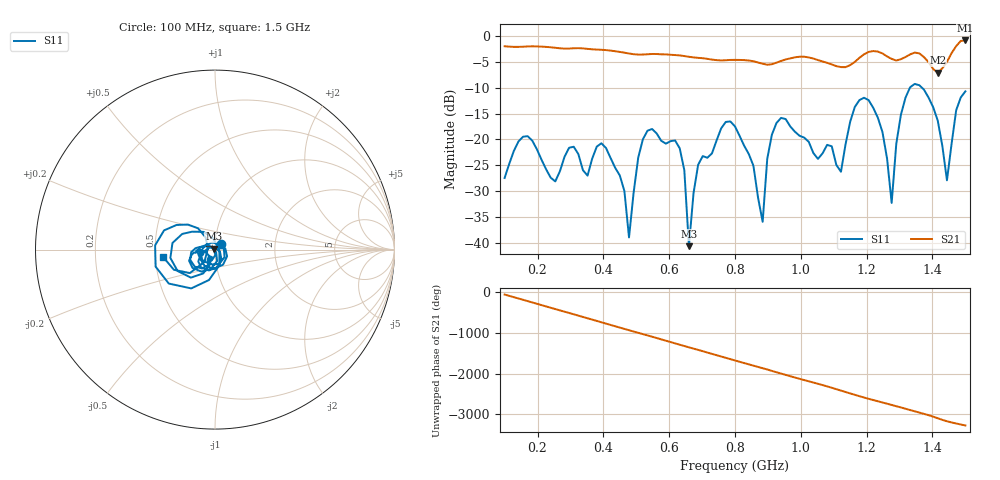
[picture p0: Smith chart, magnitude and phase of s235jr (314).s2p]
! NanoVNA-App
! Date: 2025-09-25 15:06:36
! Start: 100MHz Stop: 1,5GHz Points: 101
! S-Parameter data: F S11 S21 S12 S22
# Hz S RI R 50
!  Frequency  S11_Real  S11_Imag  S21_Real  S21_Imag  S12_Real  S12_Imag  S22_Real  S22_Imag
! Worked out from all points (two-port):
!   101 points, 100 MHz to 1.5 GHz, reference 50 ohm
!   highest |S21| = -0.84 dB at 1.5 GHz (marker M1); lowest = -7.1 dB at 1.416 GHz (marker M2)
!   |S21| within 3 dB of the highest: start of sweep to 643.5 MHz; 1.186 GHz to 1.26 GHz (74.26 MHz wide, 6.07 % of centre) (the widest 2 of 4)
!   lowest |S11| = -40.7 dB at 660 MHz (marker M3), VSWR 1.02, Z = 49.3 + j0.544 ohm
!   |S11| at or under -10 dB: start of sweep to 1.331 GHz; 1.368 GHz to end of sweep
!   S12 and S22 are empty: the file has one direction only
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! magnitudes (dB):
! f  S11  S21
! 100 MHz  -27.5  -2.0
! 170 MHz  -19.4  -2.0
! 338 MHz  -26.0  -2.4
! 408 MHz  -21.7  -2.7
! 478 MHz  -39.0  -3.4
! 520 MHz  -20.0  -3.6
! 576 MHz  -20.3  -3.5
! 632 MHz  -21.7  -3.7
! 660 MHz  -40.7  -4.0
! 688 MHz  -24.9  -4.2
! 800 MHz  -17.5  -4.6
! 884 MHz  -36.0  -5.3
! 926 MHz  -16.8  -5.1
! 1.038 GHz  -22.6  -4.3
! 1.122 GHz  -26.3  -6.0
! 1.206 GHz  -12.4  -3.1
! 1.276 GHz  -32.3  -4.4
! 1.304 GHz  -15.3  -4.5
! 1.332 GHz  -9.9  -3.5
! 1.416 GHz  -16.4  -7.1
! 1.444 GHz  -27.9  -5.0
! 1.5 GHz  -10.7  -0.8
